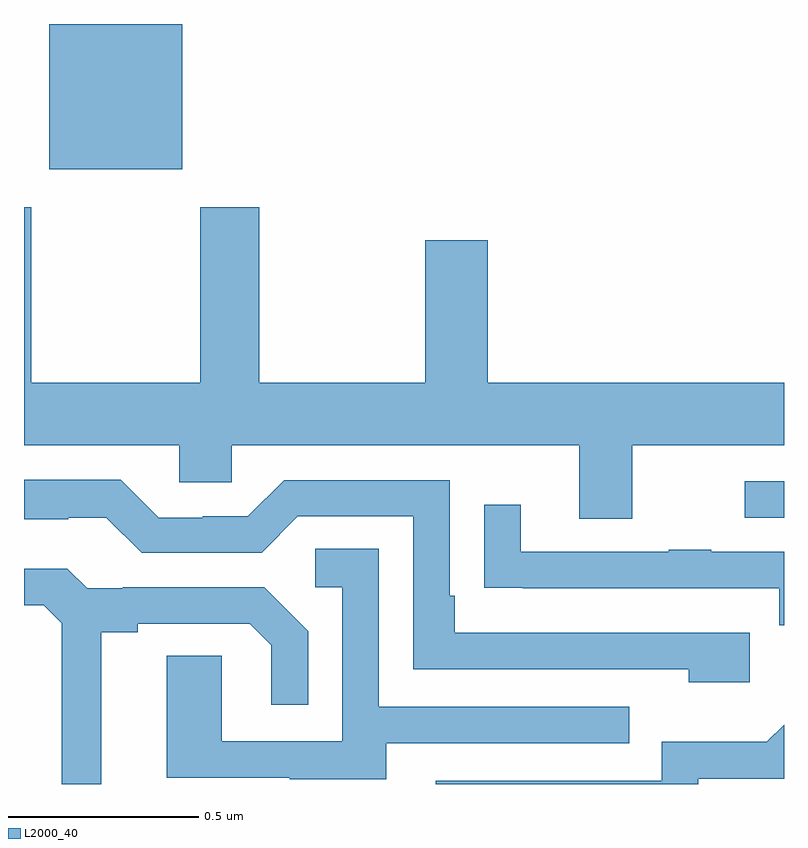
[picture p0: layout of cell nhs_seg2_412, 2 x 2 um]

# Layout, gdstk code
import gdstk
lib = gdstk.Library(unit=1e-6, precision=1e-09)
def R(c, l, rs):  # rectangles x0, y0, x1, y1
    for r in rs: c.add(gdstk.rectangle(r[:2], r[2:], *l))
def P(c, l, *ps):  # polygons
    for p in ps: c.add(gdstk.Polygon(p, *l))
L2000_40 = (2000, 40)

nhs_seg2_412 = lib.new_cell('nhs_seg2_412')
R(nhs_seg2_412, L2000_40, [(117.897,591.501,118,591.597), (116.066,592.418,116.416,592.8)])
P(nhs_seg2_412, L2000_40, [(117.601,591.692),(118,591.692),(118,591.856),(117.22,591.856),(117.22,592.231),(117.056,592.231),(117.056,591.856),(116.619,591.856),(116.619,592.318),(116.464,592.318),(116.464,591.856),(116.019,591.856),(116.019,592.318),(116,592.318),(116,591.692),(116.409,591.692),(116.409,591.594),(116.547,591.594),(116.547,591.692),(117.461,591.692),(117.461,591.498),(117.601,591.498)],
  [(117.91,591.198),(117.133,591.198),(117.133,591.295),(117.12,591.295),(117.12,591.6),(116.685,591.6),(116.589,591.504),(116.471,591.504),(116.471,591.501),(116.355,591.501),(116.255,591.601),(116,591.601),(116,591.497),(116.117,591.497),(116.117,591.501),(116.217,591.501),(116.31,591.408),(116.625,591.408),(116.721,591.504),(117.024,591.504),(117.024,591.102),(117.749,591.102),(117.749,591.068),(117.91,591.068)],
  [(118,591.411),(117.809,591.411),(117.809,591.416),(117.697,591.416),(117.697,591.411),(117.307,591.411),(117.307,591.535),(117.211,591.535),(117.211,591.316),(117.313,591.316),(117.313,591.315),(117.988,591.315),(117.988,591.218),(118,591.218)],
  [(116.953,590.907),(117.593,590.907),(117.593,591.003),(116.934,591.003),(116.934,591.419),(116.766,591.419),(116.766,591.318),(116.838,591.318),(116.838,590.913),(116.52,590.913),(116.52,591.137),(116.375,591.137),(116.375,590.817),(116.699,590.817),(116.699,590.813),(116.953,590.813)],
  [(116.203,591.2),(116.299,591.2),(116.299,591.222),(116.594,591.222),(116.651,591.165),(116.651,591.009),(116.748,591.009),(116.748,591.202),(116.632,591.318),(116.26,591.318),(116.26,591.315),(116.166,591.315),(116.114,591.367),(116,591.367),(116,591.27),(116.052,591.27),(116.099,591.223),(116.099,590.8),(116.203,590.8)],
  [(117.774,590.814),(118,590.814),(118,590.956),(117.955,590.911),(117.678,590.911),(117.678,590.808),(117.083,590.808),(117.083,590.8),(117.774,590.8)])

lib.write_gds('nhs_seg2_412.gds')
